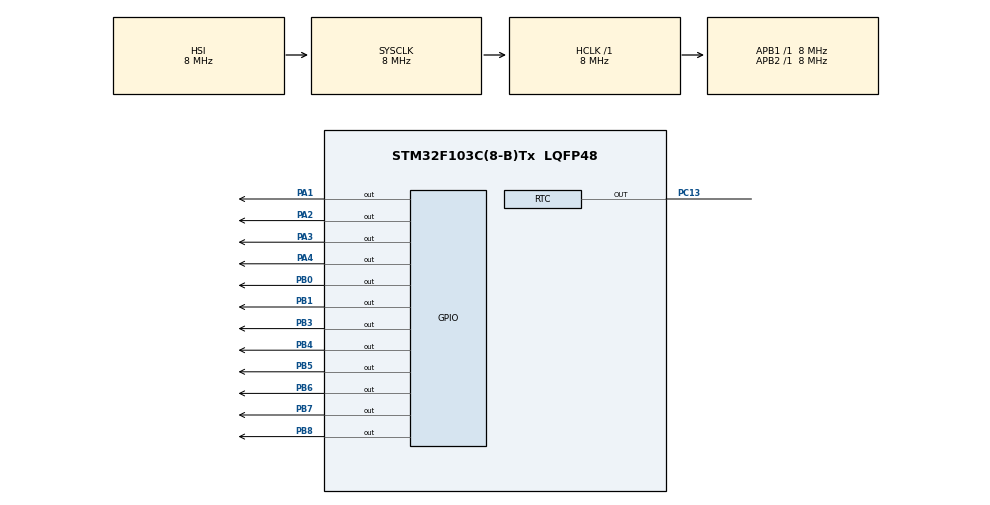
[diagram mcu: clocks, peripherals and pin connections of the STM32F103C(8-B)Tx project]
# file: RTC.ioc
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Mcu.Family=STM32F1
Mcu.Name=STM32F103C(8-B)Tx
Mcu.Package=LQFP48
NVIC.PriorityGroup=NVIC_PRIORITYGROUP_4
PA1.GPIO_ModeDefaultOutputPP=GPIO_MODE_OUTPUT_PP
PA1.GPIO_PuPd=GPIO_NOPULL
PA1.GPIO_Speed=GPIO_SPEED_FREQ_LOW
PA1.PinState=GPIO_PIN_SET
PA1.Signal=GPIO_Output
PA13.Mode=Serial_Wire
PA13.Signal=SYS_JTMS-SWDIO
PA14.Mode=Serial_Wire
PA14.Signal=SYS_JTCK-SWCLK
PA2.GPIO_ModeDefaultOutputPP=GPIO_MODE_OUTPUT_PP
PA2.GPIO_PuPd=GPIO_NOPULL
PA2.GPIO_Speed=GPIO_SPEED_FREQ_LOW
PA2.PinState=GPIO_PIN_SET
PA2.Signal=GPIO_Output
PA3.GPIO_ModeDefaultOutputPP=GPIO_MODE_OUTPUT_PP
PA3.GPIO_PuPd=GPIO_NOPULL
PA3.GPIO_Speed=GPIO_SPEED_FREQ_LOW
PA3.PinState=GPIO_PIN_SET
PA3.Signal=GPIO_Output
PA4.GPIO_ModeDefaultOutputPP=GPIO_MODE_OUTPUT_PP
PA4.GPIO_PuPd=GPIO_NOPULL
PA4.GPIO_Speed=GPIO_SPEED_FREQ_LOW
PA4.PinState=GPIO_PIN_SET
PA4.Signal=GPIO_Output
PB0.GPIO_ModeDefaultOutputPP=GPIO_MODE_OUTPUT_PP
PB0.GPIO_PuPd=GPIO_NOPULL
PB0.GPIO_Speed=GPIO_SPEED_FREQ_LOW
PB0.PinState=GPIO_PIN_RESET
PB0.Signal=GPIO_Output
PB1.GPIO_ModeDefaultOutputPP=GPIO_MODE_OUTPUT_PP
PB1.GPIO_PuPd=GPIO_NOPULL
PB1.GPIO_Speed=GPIO_SPEED_FREQ_LOW
PB1.PinState=GPIO_PIN_RESET
PB1.Signal=GPIO_Output
PB3.GPIO_ModeDefaultOutputPP=GPIO_MODE_OUTPUT_PP
PB3.GPIO_PuPd=GPIO_NOPULL
PB3.GPIO_Speed=GPIO_SPEED_FREQ_LOW
PB3.PinState=GPIO_PIN_RESET
PB3.Signal=GPIO_Output
PB4.GPIO_ModeDefaultOutputPP=GPIO_MODE_OUTPUT_PP
PB4.GPIO_PuPd=GPIO_NOPULL
PB4.GPIO_Speed=GPIO_SPEED_FREQ_LOW
PB4.PinState=GPIO_PIN_RESET
PB4.Signal=GPIO_Output
PB5.GPIO_ModeDefaultOutputPP=GPIO_MODE_OUTPUT_PP
PB5.GPIO_PuPd=GPIO_NOPULL
PB5.GPIO_Speed=GPIO_SPEED_FREQ_LOW
PB5.PinState=GPIO_PIN_RESET
PB5.Signal=GPIO_Output
PB6.GPIO_ModeDefaultOutputPP=GPIO_MODE_OUTPUT_PP
PB6.GPIO_PuPd=GPIO_NOPULL
PB6.GPIO_Speed=GPIO_SPEED_FREQ_LOW
PB6.PinState=GPIO_PIN_RESET
PB6.Signal=GPIO_Output
PB7.GPIO_ModeDefaultOutputPP=GPIO_MODE_OUTPUT_PP
PB7.GPIO_PuPd=GPIO_NOPULL
PB7.GPIO_Speed=GPIO_SPEED_FREQ_LOW
PB7.PinState=GPIO_PIN_RESET
PB7.Signal=GPIO_Output
PB8.GPIO_ModeDefaultOutputPP=GPIO_MODE_OUTPUT_PP
PB8.GPIO_PuPd=GPIO_NOPULL
PB8.GPIO_Speed=GPIO_SPEED_FREQ_LOW
PB8.PinState=GPIO_PIN_RESET
PB8.Signal=GPIO_Output
PC13-TAMPER-RTC.Mode=RTC OUT
PC13-TAMPER-RTC.Signal=RTC_OUT
PD0-OSC_IN.Mode=HSE-External-Oscillator
PD0-OSC_IN.Signal=RCC_OSC_IN
PD1-OSC_OUT.Mode=HSE-External-Oscillator
PD1-OSC_OUT.Signal=RCC_OSC_OUT
ProjectManager.HeapSize=0x200
ProjectManager.StackSize=0x400
ProjectManager.TargetToolchain=MDK-ARM V5
RCC.AHBFreq_Value=8000000
RCC.APB1Freq_Value=8000000
RCC.APB1TimFreq_Value=8000000
RCC.APB2Freq_Value=8000000
RCC.APB2TimFreq_Value=8000000
RCC.HCLKFreq_Value=8000000
RCC.RTCClockSelection=RCC_RTCCLKSOURCE_HSE_DIV128
RCC.SYSCLKFreq_VALUE=8000000
RCC.USBFreq_Value=8000000
RTC.Hours=18
RTC.Minutes=40
RTC.OutPut=RTC_OUTPUTSOURCE_ALARM
VP_RTC_VS_RTC_Activate.Mode=RTC_Enabled
VP_RTC_VS_RTC_Calendar.Mode=RTC_Calendar
board=custom

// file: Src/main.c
/* USER CODE BEGIN Header */
/**
  ******************************************************************************
  * @file           : main.c
  * @brief          : Main program body
  ******************************************************************************
  * @attention
  *
  * <h2><center>&copy; Copyright (c) 2020 STMicroelectronics.
  * All rights reserved.</center></h2>
  *
  * This software component is licensed by ST under BSD 3-Clause license,
  * the "License"; You may not use this file except in compliance with the
  * License. You may obtain a copy of the License at:
  *                        opensource.org/licenses/BSD-3-Clause
  *
  ******************************************************************************
  */
/* USER CODE END Header */

#include "main.h"

RTC_HandleTypeDef hrtc;

/* USER CODE BEGIN PV */
uint8_t font7seg[] = {0xfc, 0x60, 0xda, 0xf2, 0x66, 0xb6, 0xbe, 0xe0, 0xfe, 0xf6};
RTC_TimeTypeDef sTime;
/* USER CODE END PV */

void SystemClock_Config(void);
static void MX_GPIO_Init(void);
static void MX_RTC_Init(void);

/* USER CODE BEGIN 0 */
void printdigit(uint8_t digit, uint8_t dot)
{
	int i=0;
	uint16_t temp = 0x0000 + font7seg[digit];
	uint8_t temp2 = font7seg[digit] & 0x03;
	temp2 += dot;
	temp = temp >> 2;
	temp = temp << 3;
	temp += temp2;

	for(i =0; i<8; i++)
	{
		GPIOB->ODR = temp;
	}
}
/* USER CODE END 0 */

int main(void)
{
  /* USER CODE BEGIN 1 */
	uint8_t min = 0; uint8_t min1 = 0, min2 = 0;
	uint8_t hour = 0; uint8_t hour1 = 0, hour2 = 0;
	uint8_t j = 0;
  /* USER CODE END 1 */

  /* MCU Configuration--------------------------------------------------------*/

  /* Reset of all peripherals, Initializes the Flash interface and the Systick. */
  HAL_Init();

  /* Configure the system clock */
  SystemClock_Config();

  /* Initialize all configured peripherals */
  MX_GPIO_Init();
  MX_RTC_Init();
  /* USER CODE BEGIN 2 */
	HAL_RTC_DeactivateAlarm(&hrtc, RTC_ALARM_A);

  /* USER CODE END 2 */

  /* Infinite loop */
  while (1)
  {

    /* USER CODE BEGIN 3 */
		HAL_RTC_GetTime(&hrtc, &sTime, RTC_FORMAT_BIN);
		min = sTime.Minutes; min1 = min/10; min2 = min%10;
		hour = sTime.Hours; hour1 = hour/10; hour2 = hour%10;

		for(j=0; j<25; j++)
		{
			HAL_GPIO_WritePin(GPIOA, GPIO_PIN_1, GPIO_PIN_RESET);
			printdigit(hour1,0);
			HAL_Delay(5);
			HAL_GPIO_WritePin(GPIOA, GPIO_PIN_1, GPIO_PIN_SET);

			HAL_GPIO_WritePin(GPIOA, GPIO_PIN_2, GPIO_PIN_RESET);
			printdigit(hour2,1);
			HAL_Delay(5);
			HAL_GPIO_WritePin(GPIOA, GPIO_PIN_2, GPIO_PIN_SET);

			HAL_GPIO_WritePin(GPIOA, GPIO_PIN_3, GPIO_PIN_RESET);
			printdigit(min1,0);
			HAL_Delay(5);
			HAL_GPIO_WritePin(GPIOA, GPIO_PIN_3, GPIO_PIN_SET);

			HAL_GPIO_WritePin(GPIOA, GPIO_PIN_4, GPIO_PIN_RESET);
			printdigit(min2,0);
			HAL_Delay(5);
			HAL_GPIO_WritePin(GPIOA, GPIO_PIN_4, GPIO_PIN_SET);
		}
  }
  /* USER CODE END 3 */
}

void SystemClock_Config(void)
{
  RCC_OscInitTypeDef RCC_OscInitStruct = {0};
  RCC_ClkInitTypeDef RCC_ClkInitStruct = {0};
  RCC_PeriphCLKInitTypeDef PeriphClkInit = {0};

  /** Initializes the CPU, AHB and APB busses clocks
  */
  RCC_OscInitStruct.OscillatorType = RCC_OSCILLATORTYPE_HSI|RCC_OSCILLATORTYPE_HSE;
  RCC_OscInitStruct.HSEState = RCC_HSE_ON;
  RCC_OscInitStruct.HSIState = RCC_HSI_ON;
  RCC_OscInitStruct.HSICalibrationValue = RCC_HSICALIBRATION_DEFAULT;
  RCC_OscInitStruct.PLL.PLLState = RCC_PLL_NONE;
  if (HAL_RCC_OscConfig(&RCC_OscInitStruct) != HAL_OK)
  {
    Error_Handler();
  }
  /** Initializes the CPU, AHB and APB busses clocks
  */
  RCC_ClkInitStruct.ClockType = RCC_CLOCKTYPE_HCLK|RCC_CLOCKTYPE_SYSCLK
                              |RCC_CLOCKTYPE_PCLK1|RCC_CLOCKTYPE_PCLK2;
  RCC_ClkInitStruct.SYSCLKSource = RCC_SYSCLKSOURCE_HSI;
  RCC_ClkInitStruct.AHBCLKDivider = RCC_SYSCLK_DIV1;
  RCC_ClkInitStruct.APB1CLKDivider = RCC_HCLK_DIV1;
  RCC_ClkInitStruct.APB2CLKDivider = RCC_HCLK_DIV1;

  if (HAL_RCC_ClockConfig(&RCC_ClkInitStruct, FLASH_LATENCY_0) != HAL_OK)
  {
    Error_Handler();
  }
  PeriphClkInit.PeriphClockSelection = RCC_PERIPHCLK_RTC;
  PeriphClkInit.RTCClockSelection = RCC_RTCCLKSOURCE_HSE_DIV128;
  if (HAL_RCCEx_PeriphCLKConfig(&PeriphClkInit) != HAL_OK)
  {
    Error_Handler();
  }
}

static void MX_RTC_Init(void)
{

  RTC_TimeTypeDef sTime = {0};
  RTC_DateTypeDef DateToUpdate = {0};
  RTC_AlarmTypeDef sAlarm = {0};

  /** Initialize RTC Only
  */
  hrtc.Instance = RTC;
  hrtc.Init.AsynchPrediv = RTC_AUTO_1_SECOND;
  hrtc.Init.OutPut = RTC_OUTPUTSOURCE_ALARM;
  if (HAL_RTC_Init(&hrtc) != HAL_OK)
  {
    Error_Handler();
  }

  /* USER CODE BEGIN Check_RTC_BKUP */
	if(!(*(volatile uint32_t *) (RCC_BDCR_RTCEN_BB)))
	{
		__HAL_RCC_RTC_ENABLE();
	}

  if(HAL_RTCEx_BKUPRead(&hrtc,RTC_BKP_DR1) != 0x32f2)
	{
		sTime.Hours = 0x20;
		sTime.Minutes = 0x15;
		sTime.Seconds = 0x40;

		if (HAL_RTC_SetTime(&hrtc, &sTime, RTC_FORMAT_BCD) != HAL_OK)
		{
			Error_Handler();
		}
		DateToUpdate.WeekDay = RTC_WEEKDAY_THURSDAY;
		DateToUpdate.Month = RTC_MONTH_MAY;
		DateToUpdate.Date = 0x28;
		DateToUpdate.Year = 0x20;
		sAlarm.AlarmTime.Hours = 0x0;
		sAlarm.AlarmTime.Minutes = 0x0;
		sAlarm.AlarmTime.Seconds = 0x0;
		sAlarm.Alarm = RTC_ALARM_A;
		if (HAL_RTC_SetDate(&hrtc, &DateToUpdate, RTC_FORMAT_BCD) != HAL_OK)
		{
			Error_Handler();
		}
		HAL_RTCEx_BKUPWrite(&hrtc, RTC_BKP_DR1, 0x32f2);
	}
  /* USER CODE END Check_RTC_BKUP */

  /** Initialize RTC and set the Time and Date
  */

}

static void MX_GPIO_Init(void)
{
  GPIO_InitTypeDef GPIO_InitStruct = {0};

  /* GPIO Ports Clock Enable */
  __HAL_RCC_GPIOC_CLK_ENABLE();
  __HAL_RCC_GPIOD_CLK_ENABLE();
  __HAL_RCC_GPIOA_CLK_ENABLE();
  __HAL_RCC_GPIOB_CLK_ENABLE();

  /*Configure GPIO pin Output Level */
  HAL_GPIO_WritePin(GPIOA, GPIO_PIN_1|GPIO_PIN_2|GPIO_PIN_3|GPIO_PIN_4, GPIO_PIN_SET);

  /*Configure GPIO pin Output Level */
  HAL_GPIO_WritePin(GPIOB, GPIO_PIN_0|GPIO_PIN_1|GPIO_PIN_3|GPIO_PIN_4
                          |GPIO_PIN_5|GPIO_PIN_6|GPIO_PIN_7|GPIO_PIN_8, GPIO_PIN_RESET);

  /*Configure GPIO pins : PA1 PA2 PA3 PA4 */
  GPIO_InitStruct.Pin = GPIO_PIN_1|GPIO_PIN_2|GPIO_PIN_3|GPIO_PIN_4;
  GPIO_InitStruct.Mode = GPIO_MODE_OUTPUT_PP;
  GPIO_InitStruct.Pull = GPIO_NOPULL;
  GPIO_InitStruct.Speed = GPIO_SPEED_FREQ_LOW;
  HAL_GPIO_Init(GPIOA, &GPIO_InitStruct);

  /*Configure GPIO pins : PB0 PB1 PB3 PB4
                           PB5 PB6 PB7 PB8 */
  GPIO_InitStruct.Pin = GPIO_PIN_0|GPIO_PIN_1|GPIO_PIN_3|GPIO_PIN_4
                          |GPIO_PIN_5|GPIO_PIN_6|GPIO_PIN_7|GPIO_PIN_8;
  GPIO_InitStruct.Mode = GPIO_MODE_OUTPUT_PP;
  GPIO_InitStruct.Pull = GPIO_NOPULL;
  GPIO_InitStruct.Speed = GPIO_SPEED_FREQ_LOW;
  HAL_GPIO_Init(GPIOB, &GPIO_InitStruct);

}

void Error_Handler(void)
{
}

/************************ (C) COPYRIGHT STMicroelectronics *****END OF FILE****/
